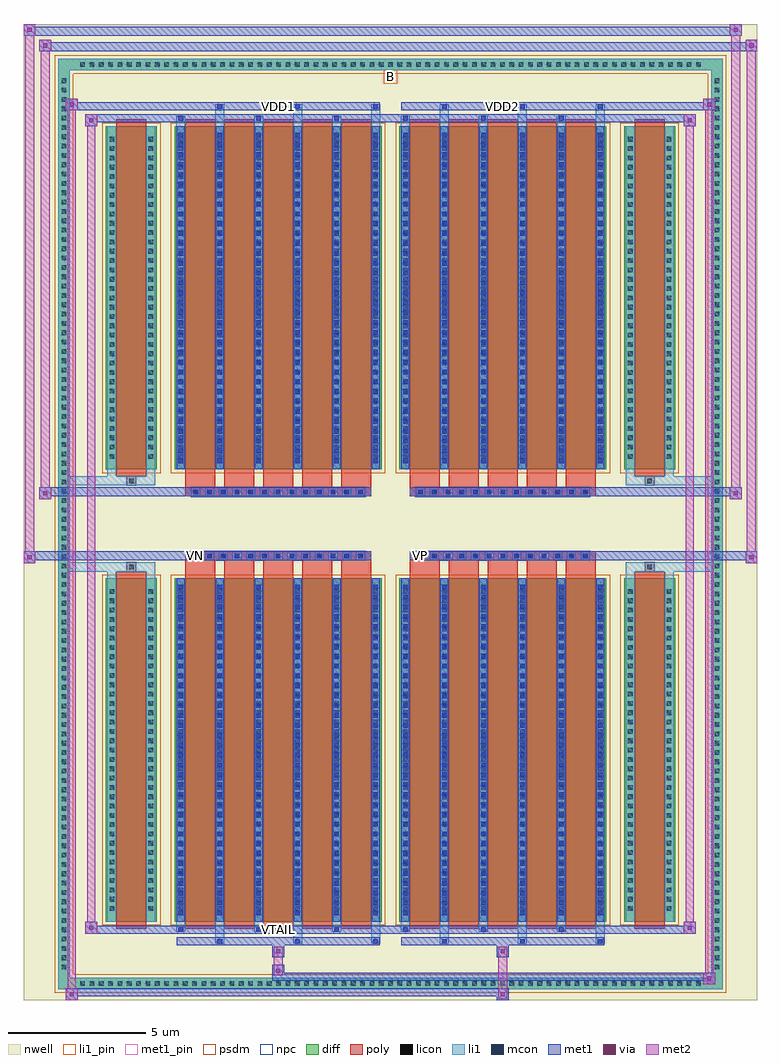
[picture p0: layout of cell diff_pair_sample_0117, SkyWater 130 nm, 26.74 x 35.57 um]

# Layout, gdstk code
import gdstk
lib = gdstk.Library(unit=1e-6, precision=5e-09)
def R(c, l, rs):  # rectangles x0, y0, x1, y1
    for r in rs: c.add(gdstk.rectangle(r[:2], r[2:], *l))
def A(c, l, x, y, w, h, nx, ny, dx, dy):  # array of equal rectangles
    R(c, l, [(x+i*dx, y+j*dy, x+i*dx+w, y+j*dy+h) for i in range(nx) for j in range(ny)])
def P(c, l, *ps):  # polygons
    for p in ps: c.add(gdstk.Polygon(p, *l))
nwell = (64, 20)
diff = (65, 20)
poly = (66, 20)
licon = (66, 44)
li1_pin = (67, 16)
li1 = (67, 20)
mcon = (67, 44)
met1_pin = (68, 16)
met1 = (68, 20)
via = (68, 44)
met2 = (69, 20)
psdm = (94, 20)
npc = (95, 20)

diff_pair_sample_0117 = lib.new_cell('diff_pair_sample_0117')
R(diff_pair_sample_0117, nwell, [(-13.37,-17.35,13.37,18.22), (-10.69,-15.54,-0.01,-0.8), (0.01,-15.54,10.69,-0.8), (-10.69,0.8,-0.01,15.54), (0.01,0.8,10.69,15.54)])
A(diff_pair_sample_0117, diff, -11.425, -16.95, 0.41, 0.41, 67, 2, 0.34, 33.49)
A(diff_pair_sample_0117, diff, -12.1, -16.355, 0.41, 0.41, 1, 96, 0, 0.34)
A(diff_pair_sample_0117, diff, 11.69, -16.355, 0.41, 0.41, 1, 96, 0, 0.34)
R(diff_pair_sample_0117, diff, [(-11.425,-16.95,11.425,-16.54), (-12.1,-16.355,-11.69,16.355), (11.69,-16.355,12.1,16.355), (-10.38,-14.495,-8.51,-1.985), (-7.87,-14.495,-0.32,-1.985), (0.32,-14.495,7.87,-1.985), (8.51,-14.495,10.38,-1.985), (-10.38,1.985,-8.51,14.495), (-7.87,1.985,-0.32,14.495), (0.32,1.985,7.87,14.495), (8.51,1.985,10.38,14.495), (-11.425,16.54,11.425,16.95)])
P(diff_pair_sample_0117, diff, [(12.1,16.95),(-12.1,16.95),(-12.1,-16.54),(-11.69,-16.54),(-11.69,16.54),(11.69,16.54),(11.69,-16.54),(-11.69,-16.54),(-12.1,-16.54),(-12.1,-16.95),(12.1,-16.95)])
A(diff_pair_sample_0117, poly, -7.48, -14.745, 1.09, 13.01, 5, 2, 1.42, 16.48)
A(diff_pair_sample_0117, poly, 0.71, -14.745, 1.09, 13.01, 5, 2, 1.42, 16.48)
A(diff_pair_sample_0117, poly, -7.48, -1.735, 1.09, 0.405, 5, 2, 1.42, 3.065)
A(diff_pair_sample_0117, poly, 0.71, -1.735, 1.09, 0.405, 5, 2, 1.42, 3.065)
A(diff_pair_sample_0117, poly, -7.26, -1.33, 0.33, 0.33, 13, 2, 0.5, 2.33)
A(diff_pair_sample_0117, poly, 0.93, -1.33, 0.33, 0.33, 13, 2, 0.5, 2.33)
R(diff_pair_sample_0117, poly, [(-9.99,-14.745,-8.9,-1.735), (8.9,-14.745,9.99,-1.735), (-9.61,-1.735,-9.28,-1.405), (-9.61,-1.735,-9.28,-1.405), (9.28,-1.735,9.61,-1.405), (9.28,-1.735,9.61,-1.405), (-7.48,-1.33,-0.71,-1), (0.71,-1.33,7.48,-1), (-7.48,1,-0.71,1.33), (0.71,1,7.48,1.33), (-9.61,1.405,-9.28,1.735), (-9.61,1.405,-9.28,1.735), (9.28,1.405,9.61,1.735), (9.28,1.405,9.61,1.735), (-9.99,1.735,-8.9,14.745), (8.9,1.735,9.99,14.745)])
A(diff_pair_sample_0117, licon, -11.305, -16.83, 0.17, 0.17, 67, 2, 0.34, 33.49)
A(diff_pair_sample_0117, licon, -11.98, -16.235, 0.17, 0.17, 1, 96, 0, 0.34)
A(diff_pair_sample_0117, licon, 11.81, -16.235, 0.17, 0.17, 1, 96, 0, 0.34)
A(diff_pair_sample_0117, licon, -10.24, -14.105, 0.17, 0.17, 1, 35, 0, 0.34)
A(diff_pair_sample_0117, licon, -8.82, -14.105, 0.17, 0.17, 1, 35, 0, 0.34)
A(diff_pair_sample_0117, licon, -7.73, -14.105, 0.17, 0.17, 6, 35, 1.42, 0.34)
A(diff_pair_sample_0117, licon, 0.46, -14.105, 0.17, 0.17, 6, 35, 1.42, 0.34)
A(diff_pair_sample_0117, licon, 8.65, -14.105, 0.17, 0.17, 1, 35, 0, 0.34)
A(diff_pair_sample_0117, licon, 10.07, -14.105, 0.17, 0.17, 1, 35, 0, 0.34)
A(diff_pair_sample_0117, licon, -7.18, -1.25, 0.17, 0.17, 13, 2, 0.5, 2.33)
A(diff_pair_sample_0117, licon, 1.01, -1.25, 0.17, 0.17, 13, 2, 0.5, 2.33)
A(diff_pair_sample_0117, licon, -10.24, 2.375, 0.17, 0.17, 1, 35, 0, 0.34)
A(diff_pair_sample_0117, licon, -8.82, 2.375, 0.17, 0.17, 1, 35, 0, 0.34)
A(diff_pair_sample_0117, licon, -7.73, 2.375, 0.17, 0.17, 6, 35, 1.42, 0.34)
A(diff_pair_sample_0117, licon, 0.46, 2.375, 0.17, 0.17, 6, 35, 1.42, 0.34)
A(diff_pair_sample_0117, licon, 8.65, 2.375, 0.17, 0.17, 1, 35, 0, 0.34)
A(diff_pair_sample_0117, licon, 10.07, 2.375, 0.17, 0.17, 1, 35, 0, 0.34)
R(diff_pair_sample_0117, licon, [(-9.53,-1.655,-9.36,-1.485), (9.36,-1.655,9.53,-1.485), (-9.53,1.485,-9.36,1.655), (9.36,1.485,9.53,1.655)])
R(diff_pair_sample_0117, li1_pin, [(-0.25,16.04,0.25,16.54)])
A(diff_pair_sample_0117, li1, -11.385, -16.91, 0.33, 0.33, 67, 2, 0.34, 33.49)
A(diff_pair_sample_0117, li1, -12.06, -16.315, 0.33, 0.33, 1, 96, 0, 0.34)
A(diff_pair_sample_0117, li1, 11.73, -16.315, 0.33, 0.33, 1, 96, 0, 0.34)
A(diff_pair_sample_0117, li1, -6.39, -15.3, 0.33, 0.805, 3, 2, 2.84, 29.795)
A(diff_pair_sample_0117, li1, -6.31, -15.3, 0.17, 0.17, 3, 2, 2.84, 30.43)
A(diff_pair_sample_0117, li1, 1.8, -15.3, 0.33, 0.805, 3, 2, 2.84, 29.795)
A(diff_pair_sample_0117, li1, 1.88, -15.3, 0.17, 0.17, 3, 2, 2.84, 30.43)
A(diff_pair_sample_0117, li1, -7.81, -14.87, 0.33, 0.375, 3, 2, 2.84, 29.365)
A(diff_pair_sample_0117, li1, -7.73, -14.87, 0.17, 0.17, 3, 2, 2.84, 29.57)
A(diff_pair_sample_0117, li1, 0.38, -14.87, 0.33, 0.375, 3, 2, 2.84, 29.365)
A(diff_pair_sample_0117, li1, 0.46, -14.87, 0.17, 0.17, 3, 2, 2.84, 29.57)
A(diff_pair_sample_0117, li1, -7.81, -14.495, 0.33, 12.51, 6, 2, 1.42, 16.48)
A(diff_pair_sample_0117, li1, 0.38, -14.495, 0.33, 12.51, 6, 2, 1.42, 16.48)
A(diff_pair_sample_0117, li1, -7.73, -14.265, 0.17, 0.17, 6, 34, 1.42, 0.36)
A(diff_pair_sample_0117, li1, -7.73, -14.265, 0.17, 12.05, 6, 2, 1.42, 16.48)
A(diff_pair_sample_0117, li1, 0.46, -14.265, 0.17, 0.17, 6, 34, 1.42, 0.36)
A(diff_pair_sample_0117, li1, 0.46, -14.265, 0.17, 12.05, 6, 2, 1.42, 16.48)
A(diff_pair_sample_0117, li1, -10.32, -14.185, 0.33, 0.33, 1, 35, 0, 0.34)
A(diff_pair_sample_0117, li1, -8.9, -14.185, 0.33, 0.33, 1, 35, 0, 0.34)
A(diff_pair_sample_0117, li1, -7.81, -14.185, 0.33, 0.33, 6, 35, 1.42, 0.34)
A(diff_pair_sample_0117, li1, 0.38, -14.185, 0.33, 0.33, 6, 35, 1.42, 0.34)
A(diff_pair_sample_0117, li1, 8.57, -14.185, 0.33, 0.33, 1, 35, 0, 0.34)
A(diff_pair_sample_0117, li1, 9.99, -14.185, 0.33, 0.33, 1, 35, 0, 0.34)
A(diff_pair_sample_0117, li1, -7.26, -1.33, 0.33, 0.33, 13, 2, 0.5, 2.33)
A(diff_pair_sample_0117, li1, 0.93, -1.33, 0.33, 0.33, 13, 2, 0.5, 2.33)
A(diff_pair_sample_0117, li1, -7.73, 2.215, 0.17, 0.17, 6, 34, 1.42, 0.36)
A(diff_pair_sample_0117, li1, 0.46, 2.215, 0.17, 0.17, 6, 34, 1.42, 0.36)
A(diff_pair_sample_0117, li1, -10.32, 2.295, 0.33, 0.33, 1, 35, 0, 0.34)
A(diff_pair_sample_0117, li1, -8.9, 2.295, 0.33, 0.33, 1, 35, 0, 0.34)
A(diff_pair_sample_0117, li1, -7.81, 2.295, 0.33, 0.33, 6, 35, 1.42, 0.34)
A(diff_pair_sample_0117, li1, 0.38, 2.295, 0.33, 0.33, 6, 35, 1.42, 0.34)
A(diff_pair_sample_0117, li1, 8.57, 2.295, 0.33, 0.33, 1, 35, 0, 0.34)
A(diff_pair_sample_0117, li1, 9.99, 2.295, 0.33, 0.33, 1, 35, 0, 0.34)
R(diff_pair_sample_0117, li1, [(-12.1,-16.95,-11.69,-16.54), (-12.1,-16.95,-11.69,-16.54), (-11.69,-16.95,11.69,-16.54), (11.69,-16.95,12.1,-16.54), (11.69,-16.95,12.1,-16.54), (-12.1,-16.54,-11.69,16.54), (11.69,-16.54,12.1,16.54), (-10.32,-14.495,-9.99,-1.985), (-8.9,-14.495,-8.57,-1.985), (8.57,-14.495,8.9,-1.985), (9.99,-14.495,10.32,-1.985), (-10.32,-1.985,-9.99,-1.405), (-8.9,-1.985,-8.57,-1.405), (8.57,-1.985,8.9,-1.405), (9.99,-1.985,10.32,-1.405), (-12.1,-1.735,-9.61,-1.405), (-10.32,-1.735,-9.61,-1.405), (-9.61,-1.735,-9.28,-1.405), (-9.28,-1.735,-8.57,-1.405), (8.57,-1.735,9.28,-1.405), (9.28,-1.735,9.61,-1.405), (9.28,-1.735,12.1,-1.405), (9.61,-1.735,10.32,-1.405), (-12.1,1.405,-9.61,1.735), (-10.32,1.405,-9.61,1.735), (-10.32,1.405,-9.99,1.985), (-9.61,1.405,-9.28,1.735), (-9.28,1.405,-8.57,1.735), (-8.9,1.405,-8.57,1.985), (8.57,1.405,9.28,1.735), (8.57,1.405,8.9,1.985), (9.28,1.405,9.61,1.735), (9.28,1.405,12.1,1.735), (9.61,1.405,10.32,1.735), (9.99,1.405,10.32,1.985), (-10.32,1.985,-9.99,14.495), (-8.9,1.985,-8.57,14.495), (8.57,1.985,8.9,14.495), (9.99,1.985,10.32,14.495), (-12.1,16.54,-11.69,16.95), (-12.1,16.54,-11.69,16.95), (-11.69,16.54,11.69,16.95), (11.69,16.54,12.1,16.95), (11.69,16.54,12.1,16.95)])
A(diff_pair_sample_0117, mcon, -6.31, -15.3, 0.17, 0.17, 3, 2, 2.84, 30.43)
A(diff_pair_sample_0117, mcon, 1.88, -15.3, 0.17, 0.17, 3, 2, 2.84, 30.43)
A(diff_pair_sample_0117, mcon, -7.73, -14.87, 0.17, 0.17, 3, 2, 2.84, 29.57)
A(diff_pair_sample_0117, mcon, 0.46, -14.87, 0.17, 0.17, 3, 2, 2.84, 29.57)
A(diff_pair_sample_0117, mcon, -7.73, -14.265, 0.17, 0.17, 6, 34, 1.42, 0.36)
A(diff_pair_sample_0117, mcon, 0.46, -14.265, 0.17, 0.17, 6, 34, 1.42, 0.36)
A(diff_pair_sample_0117, mcon, -7.18, -1.25, 0.17, 0.17, 13, 2, 0.5, 2.33)
A(diff_pair_sample_0117, mcon, 1.01, -1.25, 0.17, 0.17, 13, 2, 0.5, 2.33)
A(diff_pair_sample_0117, mcon, -7.73, 2.215, 0.17, 0.17, 6, 34, 1.42, 0.36)
A(diff_pair_sample_0117, mcon, 0.46, 2.215, 0.17, 0.17, 6, 34, 1.42, 0.36)
R(diff_pair_sample_0117, met1_pin, [(-4.23,-14.91,-3.96,-14.64), (-7.23,-1.29,-6.96,-1.02), (0.96,-1.29,1.23,-1.02), (-4.23,15.09,-3.96,15.36), (3.96,15.09,4.23,15.36)])
A(diff_pair_sample_0117, met1, -6.37, -15.36, 0.29, 0.29, 3, 2, 2.84, 30.43)
A(diff_pair_sample_0117, met1, 1.82, -15.36, 0.29, 0.29, 3, 2, 2.84, 30.43)
A(diff_pair_sample_0117, met1, -7.79, -14.93, 0.29, 0.29, 3, 2, 2.84, 29.57)
A(diff_pair_sample_0117, met1, 0.4, -14.93, 0.29, 0.29, 3, 2, 2.84, 29.57)
A(diff_pair_sample_0117, met1, -7.79, -14.495, 0.29, 12.51, 6, 2, 1.42, 16.48)
A(diff_pair_sample_0117, met1, 0.4, -14.495, 0.29, 12.51, 6, 2, 1.42, 16.48)
A(diff_pair_sample_0117, met1, -7.79, -14.325, 0.29, 0.29, 6, 34, 1.42, 0.36)
A(diff_pair_sample_0117, met1, 0.4, -14.325, 0.29, 0.29, 6, 34, 1.42, 0.36)
A(diff_pair_sample_0117, met1, -7.24, -1.31, 0.29, 0.29, 13, 2, 0.5, 2.33)
A(diff_pair_sample_0117, met1, 0.95, -1.31, 0.29, 0.29, 13, 2, 0.5, 2.33)
A(diff_pair_sample_0117, met1, -7.79, 2.155, 0.29, 0.29, 6, 34, 1.42, 0.36)
A(diff_pair_sample_0117, met1, 0.4, 2.155, 0.29, 0.29, 6, 34, 1.42, 0.36)
R(diff_pair_sample_0117, met1, [(-11.83,-17.35,-11.4,-16.92), (3.88,-17.35,4.31,-16.92), (-11.83,-17.21,4.31,-16.92), (11.4,-16.78,11.83,-16.35), (-4.31,-16.64,11.83,-16.35), (-4.31,-16.5,-3.88,-16.07), (-4.31,-15.79,-3.88,-15.36), (3.88,-15.79,4.31,-15.36), (-7.79,-15.36,-0.4,-15.07), (0.4,-15.36,7.79,-15.07), (-11.12,-14.93,-10.69,-14.5), (-11.12,-14.93,-7.79,-14.64), (-7.79,-14.93,-0.4,-14.64), (-0.4,-14.93,0.4,-14.64), (0.4,-14.93,7.79,-14.64), (7.79,-14.93,11.12,-14.64), (10.69,-14.93,11.12,-14.5), (-13.37,-1.43,-12.94,-1), (12.94,-1.43,13.37,-1), (-13.37,-1.33,-0.71,-1), (-7.48,-1.33,-0.71,-1), (0.71,-1.33,7.48,-1), (0.71,-1.33,13.37,-1), (-12.8,0.9,-12.37,1.33), (12.37,0.9,12.8,1.33), (-12.8,1,-7.48,1.33), (-7.48,1,-0.71,1.33), (0.71,1,7.48,1.33), (7.48,1,12.8,1.33), (-11.12,14.5,-10.69,14.93), (10.69,14.5,11.12,14.93), (-11.12,14.64,-7.79,14.93), (-7.79,14.64,-0.4,14.93), (-0.4,14.64,0.4,14.93), (0.4,14.64,7.79,14.93), (7.79,14.64,11.12,14.93), (-11.83,15.07,-11.4,15.5), (-11.83,15.07,-7.79,15.36), (-7.79,15.07,-0.4,15.36), (0.4,15.07,7.79,15.36), (7.79,15.07,11.83,15.36), (11.4,15.07,11.83,15.5), (-12.8,17.22,-12.37,17.65), (-12.8,17.22,-10.69,17.55), (-10.69,17.22,10.69,17.55), (10.69,17.22,13.37,17.55), (12.94,17.22,13.37,17.65), (-13.37,17.79,-12.94,18.22), (-13.37,17.79,-10.69,18.12), (-10.69,17.79,10.69,18.12), (10.69,17.79,12.8,18.12), (12.37,17.79,12.8,18.22)])
R(diff_pair_sample_0117, via, [(-11.69,-17.21,-11.54,-17.06), (4.02,-17.21,4.17,-17.06), (11.54,-16.64,11.69,-16.49), (-4.17,-16.36,-4.02,-16.21), (-4.17,-15.65,-4.02,-15.5), (4.02,-15.65,4.17,-15.5), (-10.98,-14.79,-10.83,-14.64), (10.83,-14.79,10.98,-14.64), (-13.23,-1.29,-13.08,-1.14), (13.08,-1.29,13.23,-1.14), (-12.66,1.04,-12.51,1.19), (12.51,1.04,12.66,1.19), (-10.98,14.64,-10.83,14.79), (10.83,14.64,10.98,14.79), (-11.69,15.21,-11.54,15.36), (11.54,15.21,11.69,15.36), (-12.66,17.36,-12.51,17.51), (13.08,17.36,13.23,17.51), (-13.23,17.93,-13.08,18.08), (12.51,17.93,12.66,18.08)])
R(diff_pair_sample_0117, met2, [(-11.83,-17.35,-11.4,-16.92), (-11.76,-17.35,-11.47,15.5), (-11.47,-17.35,-11.4,-16.92), (-11.78,-17.3,-11.45,-16.97), (3.93,-17.3,4.26,-16.97), (3.93,-16.97,4.26,-15.74), (11.4,-16.78,11.83,-16.35), (11.47,-16.78,11.76,15.5), (11.76,-16.78,11.83,-16.35), (11.45,-16.73,11.78,-16.4), (-4.26,-16.45,-3.93,-16.12), (-4.26,-16.12,-3.93,-15.74), (-4.26,-15.74,-3.93,-15.41), (3.93,-15.74,4.26,-15.41), (-11.12,-14.93,-10.69,-14.5), (-11.05,-14.93,-10.76,14.93), (-10.76,-14.93,-10.69,-14.5), (10.69,-14.93,11.12,-14.5), (10.76,-14.93,11.05,14.93), (11.05,-14.93,11.12,-14.5), (-11.07,-14.88,-10.74,-14.55), (10.74,-14.88,11.07,-14.55), (-13.37,-1.43,-12.94,-1), (-13.32,-1.43,-12.99,18.22), (-12.99,-1.43,-12.94,-1), (12.94,-1.43,13.37,-1), (12.99,-1.43,13.32,17.65), (13.32,-1.43,13.37,-1), (-13.32,-1.38,-12.99,-1.05), (12.99,-1.38,13.32,-1.05), (-12.8,0.9,-12.37,1.33), (-12.75,0.9,-12.42,17.65), (-12.42,0.9,-12.37,1.33), (12.37,0.9,12.8,1.33), (12.42,0.9,12.75,18.22), (12.75,0.9,12.8,1.33), (-12.75,0.95,-12.42,1.28), (12.42,0.95,12.75,1.28), (-11.12,14.5,-10.69,14.93), (-10.76,14.5,-10.69,14.93), (10.69,14.5,11.12,14.93), (11.05,14.5,11.12,14.93), (-11.07,14.55,-10.74,14.88), (10.74,14.55,11.07,14.88), (-11.83,15.07,-11.4,15.5), (-11.47,15.07,-11.4,15.5), (11.4,15.07,11.83,15.5), (11.76,15.07,11.83,15.5), (-11.78,15.12,-11.45,15.45), (11.45,15.12,11.78,15.45), (-12.8,17.22,-12.37,17.65), (-12.42,17.22,-12.37,17.65), (12.94,17.22,13.37,17.65), (13.32,17.22,13.37,17.65), (-12.75,17.27,-12.42,17.6), (12.99,17.27,13.32,17.6), (-13.37,17.79,-12.94,18.22), (-12.99,17.79,-12.94,18.22), (12.37,17.79,12.8,18.22), (12.75,17.79,12.8,18.22), (-13.32,17.84,-12.99,18.17), (12.42,17.84,12.75,18.17)])
R(diff_pair_sample_0117, psdm, [(-10.51,-14.625,-8.38,-1.855), (-8,-14.625,-0.19,-1.855), (0.19,-14.625,8,-1.855), (8.38,-14.625,10.51,-1.855), (-10.51,1.855,-8.38,14.625), (-8,1.855,-0.19,14.625), (0.19,1.855,8,14.625), (8.38,1.855,10.51,14.625)])
P(diff_pair_sample_0117, psdm, [(12.23,17.08),(-12.23,17.08),(-12.23,-16.41),(-11.56,-16.41),(-11.56,16.41),(11.56,16.41),(11.56,-16.41),(-11.56,-16.41),(-12.23,-16.41),(-12.23,-17.08),(12.23,-17.08)])
A(diff_pair_sample_0117, npc, -7.28, -1.35, 0.37, 0.37, 13, 2, 0.5, 2.33)
A(diff_pair_sample_0117, npc, 0.91, -1.35, 0.37, 0.37, 13, 2, 0.5, 2.33)
R(diff_pair_sample_0117, npc, [(-9.63,-1.755,-9.26,-1.385), (9.26,-1.755,9.63,-1.385), (-7.28,-1.35,-6.41,-0.98), (-7.28,-1.35,-6.41,-0.98), (-6.78,-1.35,-5.91,-0.98), (-6.78,-1.35,-5.91,-0.98), (-6.28,-1.35,-5.41,-0.98), (-6.28,-1.35,-5.41,-0.98), (-5.78,-1.35,-4.91,-0.98), (-5.78,-1.35,-4.91,-0.98), (-5.28,-1.35,-4.41,-0.98), (-5.28,-1.35,-4.41,-0.98), (-4.78,-1.35,-3.91,-0.98), (-4.78,-1.35,-3.91,-0.98), (-4.28,-1.35,-3.41,-0.98), (-4.28,-1.35,-3.41,-0.98), (-3.78,-1.35,-2.91,-0.98), (-3.78,-1.35,-2.91,-0.98), (-3.28,-1.35,-2.41,-0.98), (-3.28,-1.35,-2.41,-0.98), (-2.78,-1.35,-1.91,-0.98), (-2.78,-1.35,-1.91,-0.98), (-2.28,-1.35,-1.41,-0.98), (-2.28,-1.35,-1.41,-0.98), (-1.78,-1.35,-0.91,-0.98), (-1.78,-1.35,-0.91,-0.98), (0.91,-1.35,1.78,-0.98), (0.91,-1.35,1.78,-0.98), (1.41,-1.35,2.28,-0.98), (1.41,-1.35,2.28,-0.98), (1.91,-1.35,2.78,-0.98), (1.91,-1.35,2.78,-0.98), (2.41,-1.35,3.28,-0.98), (2.41,-1.35,3.28,-0.98), (2.91,-1.35,3.78,-0.98), (2.91,-1.35,3.78,-0.98), (3.41,-1.35,4.28,-0.98), (3.41,-1.35,4.28,-0.98), (3.91,-1.35,4.78,-0.98), (3.91,-1.35,4.78,-0.98), (4.41,-1.35,5.28,-0.98), (4.41,-1.35,5.28,-0.98), (4.91,-1.35,5.78,-0.98), (4.91,-1.35,5.78,-0.98), (5.41,-1.35,6.28,-0.98), (5.41,-1.35,6.28,-0.98), (5.91,-1.35,6.78,-0.98), (5.91,-1.35,6.78,-0.98), (6.41,-1.35,7.28,-0.98), (6.41,-1.35,7.28,-0.98), (-7.28,0.98,-6.41,1.35), (-7.28,0.98,-6.41,1.35), (-6.78,0.98,-5.91,1.35), (-6.78,0.98,-5.91,1.35), (-6.28,0.98,-5.41,1.35), (-6.28,0.98,-5.41,1.35), (-5.78,0.98,-4.91,1.35), (-5.78,0.98,-4.91,1.35), (-5.28,0.98,-4.41,1.35), (-5.28,0.98,-4.41,1.35), (-4.78,0.98,-3.91,1.35), (-4.78,0.98,-3.91,1.35), (-4.28,0.98,-3.41,1.35), (-4.28,0.98,-3.41,1.35), (-3.78,0.98,-2.91,1.35), (-3.78,0.98,-2.91,1.35), (-3.28,0.98,-2.41,1.35), (-3.28,0.98,-2.41,1.35), (-2.78,0.98,-1.91,1.35), (-2.78,0.98,-1.91,1.35), (-2.28,0.98,-1.41,1.35), (-2.28,0.98,-1.41,1.35), (-1.78,0.98,-0.91,1.35), (-1.78,0.98,-0.91,1.35), (0.91,0.98,1.78,1.35), (0.91,0.98,1.78,1.35), (1.41,0.98,2.28,1.35), (1.41,0.98,2.28,1.35), (1.91,0.98,2.78,1.35), (1.91,0.98,2.78,1.35), (2.41,0.98,3.28,1.35), (2.41,0.98,3.28,1.35), (2.91,0.98,3.78,1.35), (2.91,0.98,3.78,1.35), (3.41,0.98,4.28,1.35), (3.41,0.98,4.28,1.35), (3.91,0.98,4.78,1.35), (3.91,0.98,4.78,1.35), (4.41,0.98,5.28,1.35), (4.41,0.98,5.28,1.35), (4.91,0.98,5.78,1.35), (4.91,0.98,5.78,1.35), (5.41,0.98,6.28,1.35), (5.41,0.98,6.28,1.35), (5.91,0.98,6.78,1.35), (5.91,0.98,6.78,1.35), (6.41,0.98,7.28,1.35), (6.41,0.98,7.28,1.35), (-9.63,1.385,-9.26,1.755), (9.26,1.385,9.63,1.755)])
diff_pair_sample_0117.add(gdstk.Label('VTAIL', (-4.095,-14.775), layer=68, texttype=5))
diff_pair_sample_0117.add(gdstk.Label('VN', (-7.095,-1.155), layer=68, texttype=5))
diff_pair_sample_0117.add(gdstk.Label('VP', (1.095,-1.155), layer=68, texttype=5))
diff_pair_sample_0117.add(gdstk.Label('B', (0,16.29), layer=67, texttype=5))
diff_pair_sample_0117.add(gdstk.Label('VDD2', (4.095,15.225), layer=68, texttype=5))
diff_pair_sample_0117.add(gdstk.Label('VDD1', (-4.095,15.225), layer=68, texttype=5))

lib.write_gds('diff_pair_sample_0117.gds')
